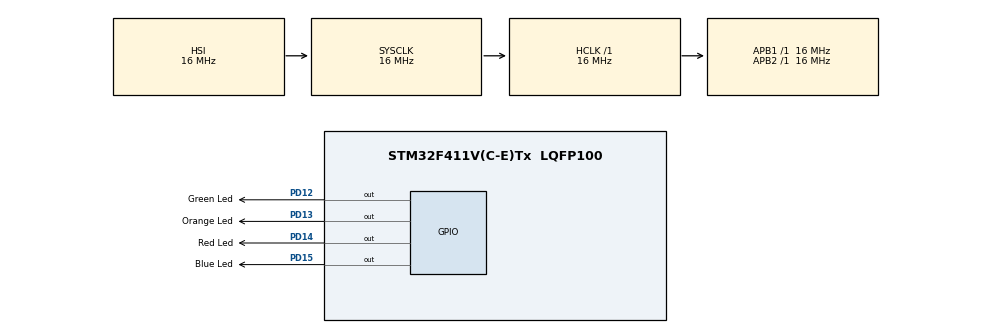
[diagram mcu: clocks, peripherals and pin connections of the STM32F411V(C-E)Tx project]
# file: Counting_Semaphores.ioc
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FREERTOS.Tasks01=defaultTask,0,128,StartDefaultTask,Default,NULL
FREERTOS.configUSE_COUNTING_SEMAPHORES=1
Mcu.Family=STM32F4
Mcu.Name=STM32F411V(C-E)Tx
Mcu.Package=LQFP100
NVIC.PriorityGroup=NVIC_PRIORITYGROUP_4
NVIC.TIM1_UP_TIM10_IRQn=true\:0\:0\:false\:false\:true\:false\:false
NVIC.TimeBase=TIM1_UP_TIM10_IRQn
NVIC.TimeBaseIP=TIM1
PD12.GPIO_Label=Green Led
PD12.GPIO_Speed=GPIO_SPEED_FREQ_VERY_HIGH
PD12.Signal=GPIO_Output
PD13.GPIO_Label=Orange Led
PD13.GPIO_Speed=GPIO_SPEED_FREQ_VERY_HIGH
PD13.Signal=GPIO_Output
PD14.GPIO_Label=Red Led
PD14.GPIO_Speed=GPIO_SPEED_FREQ_VERY_HIGH
PD14.Signal=GPIO_Output
PD15.GPIO_Label=Blue Led
PD15.GPIO_Speed=GPIO_SPEED_FREQ_VERY_HIGH
PD15.Signal=GPIO_Output
ProjectManager.HeapSize=0x200
ProjectManager.StackSize=0x400
ProjectManager.TargetToolchain=MDK-ARM V5
RCC.AHBFreq_Value=16000000
RCC.APB1Freq_Value=16000000
RCC.APB2Freq_Value=16000000
RCC.CortexFreq_Value=16000000
RCC.HSE_VALUE=25000000
RCC.HSI_VALUE=16000000
RCC.LSE_VALUE=32768
RCC.SYSCLKFreq_VALUE=16000000
RCC.VCOOutputFreq_Value=192000000
VP_FREERTOS_VS_ENABLE.Mode=Enabled
VP_SYS_VS_tim1.Mode=TIM1
board=custom

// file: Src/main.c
/**
  ******************************************************************************
  * @file           : main.c
  * @brief          : Main program body
  ******************************************************************************
  * This notice applies to any and all portions of this file
  * that are not between comment pairs USER CODE BEGIN and
  * USER CODE END. Other portions of this file, whether
  * inserted by the user or by software development tools
  * are owned by their respective copyright owners.
  *
  * Copyright (c) 2018 STMicroelectronics International N.V.
  * All rights reserved.
  *
  * Redistribution and use in source and binary forms, with or without
  * modification, are permitted, provided that the following conditions are met:
  *
  * 1. Redistribution of source code must retain the above copyright notice,
  *    this list of conditions and the following disclaimer.
  * 2. Redistributions in binary form must reproduce the above copyright notice,
  *    this list of conditions and the following disclaimer in the documentation
  *    and/or other materials provided with the distribution.
  * 3. Neither the name of STMicroelectronics nor the names of other
  *    contributors to this software may be used to endorse or promote products
  *    derived from this software without specific written permission.
  * 4. This software, including modifications and/or derivative works of this
  *    software, must execute solely and exclusively on microcontroller or
  *    microprocessor devices manufactured by or for STMicroelectronics.
  * 5. Redistribution and use of this software other than as permitted under
  *    this license is void and will automatically terminate your rights under
  *    this license.
  *
  * THIS SOFTWARE IS PROVIDED BY STMICROELECTRONICS AND CONTRIBUTORS "AS IS"
  * AND ANY EXPRESS, IMPLIED OR STATUTORY WARRANTIES, INCLUDING, BUT NOT
  * LIMITED TO, THE IMPLIED WARRANTIES OF MERCHANTABILITY, FITNESS FOR A
  * PARTICULAR PURPOSE AND NON-INFRINGEMENT OF THIRD PARTY INTELLECTUAL PROPERTY
  * RIGHTS ARE DISCLAIMED TO THE FULLEST EXTENT PERMITTED BY LAW. IN NO EVENT
  * SHALL STMICROELECTRONICS OR CONTRIBUTORS BE LIABLE FOR ANY DIRECT, INDIRECT,
  * INCIDENTAL, SPECIAL, EXEMPLARY, OR CONSEQUENTIAL DAMAGES (INCLUDING, BUT NOT
  * LIMITED TO, PROCUREMENT OF SUBSTITUTE GOODS OR SERVICES; LOSS OF USE, DATA,
  * OR PROFITS; OR BUSINESS INTERRUPTION) HOWEVER CAUSED AND ON ANY THEORY OF
  * LIABILITY, WHETHER IN CONTRACT, STRICT LIABILITY, OR TORT (INCLUDING
  * NEGLIGENCE OR OTHERWISE) ARISING IN ANY WAY OUT OF THE USE OF THIS SOFTWARE,
  * EVEN IF ADVISED OF THE POSSIBILITY OF SUCH DAMAGE.
  *
  ******************************************************************************
  */
#include "main.h"
#include "stm32f4xx_hal.h"
#include "cmsis_os.h"

/* USER CODE BEGIN Includes */
#include <string.h>
/* USER CODE END Includes */

osThreadId defaultTaskHandle;

/* USER CODE BEGIN PV */
/* Private variables ---------------------------------------------------------*/
#define STACK_SIZE	128
uint8_t data;
SemaphoreHandle_t xSemaphore;
TaskHandle_t xHandle2,xHandle3;
/* USER CODE END PV */

void SystemClock_Config(void);
static void MX_GPIO_Init(void);
void StartDefaultTask(void const * argument);

/* USER CODE BEGIN PFP */
/* Private function prototypes -----------------------------------------------*/
void myTask2(void *argument);
void myTask3(void *argument);
/* USER CODE END PFP */

int main(void)
{

  /* MCU Configuration----------------------------------------------------------*/

  /* Reset of all peripherals, Initializes the Flash interface and the Systick. */
  HAL_Init();

  /* Configure the system clock */
  SystemClock_Config();

  /* Initialize all configured peripherals */
  MX_GPIO_Init();

  /* USER CODE BEGIN RTOS_SEMAPHORES */
  /* add semaphores, ... */
	xSemaphore = xSemaphoreCreateCounting(3, 3);
	if(xSemaphore == NULL)
	{
		Error_Handler();
	}
  /* USER CODE END RTOS_SEMAPHORES */

  /* Create the thread(s) */
  /* definition and creation of defaultTask */
  osThreadDef(defaultTask, StartDefaultTask, osPriorityNormal, 0, 128);
  defaultTaskHandle = osThreadCreate(osThread(defaultTask), NULL);

  /* USER CODE BEGIN RTOS_THREADS */
  /* add threads, ... */
	if(xTaskCreate(myTask2, "TASK2", STACK_SIZE, NULL, osPriorityNormal-osPriorityIdle, xHandle2) != pdPASS)
	{
		Error_Handler();
	}
	if(xTaskCreate(myTask3, "TASK3", STACK_SIZE, NULL, osPriorityNormal-osPriorityIdle, xHandle3) != pdPASS)
	{
		Error_Handler();
	}
  /* USER CODE END RTOS_THREADS */

  /* Start scheduler */
  osKernelStart();

  /* We should never get here as control is now taken by the scheduler */

  /* Infinite loop */
  while (1)
  {

  }

}

void SystemClock_Config(void)
{

  RCC_OscInitTypeDef RCC_OscInitStruct;
  RCC_ClkInitTypeDef RCC_ClkInitStruct;

    /**Configure the main internal regulator output voltage
    */
  __HAL_RCC_PWR_CLK_ENABLE();

  __HAL_PWR_VOLTAGESCALING_CONFIG(PWR_REGULATOR_VOLTAGE_SCALE1);

    /**Initializes the CPU, AHB and APB busses clocks
    */
  RCC_OscInitStruct.OscillatorType = RCC_OSCILLATORTYPE_HSI;
  RCC_OscInitStruct.HSIState = RCC_HSI_ON;
  RCC_OscInitStruct.HSICalibrationValue = 16;
  RCC_OscInitStruct.PLL.PLLState = RCC_PLL_NONE;
  if (HAL_RCC_OscConfig(&RCC_OscInitStruct) != HAL_OK)
  {
    _Error_Handler(__FILE__, __LINE__);
  }

    /**Initializes the CPU, AHB and APB busses clocks
    */
  RCC_ClkInitStruct.ClockType = RCC_CLOCKTYPE_HCLK|RCC_CLOCKTYPE_SYSCLK
                              |RCC_CLOCKTYPE_PCLK1|RCC_CLOCKTYPE_PCLK2;
  RCC_ClkInitStruct.SYSCLKSource = RCC_SYSCLKSOURCE_HSI;
  RCC_ClkInitStruct.AHBCLKDivider = RCC_SYSCLK_DIV1;
  RCC_ClkInitStruct.APB1CLKDivider = RCC_HCLK_DIV1;
  RCC_ClkInitStruct.APB2CLKDivider = RCC_HCLK_DIV1;

  if (HAL_RCC_ClockConfig(&RCC_ClkInitStruct, FLASH_LATENCY_0) != HAL_OK)
  {
    _Error_Handler(__FILE__, __LINE__);
  }

    /**Configure the Systick interrupt time
    */
  HAL_SYSTICK_Config(HAL_RCC_GetHCLKFreq()/1000);

    /**Configure the Systick
    */
  HAL_SYSTICK_CLKSourceConfig(SYSTICK_CLKSOURCE_HCLK);

  /* SysTick_IRQn interrupt configuration */
  HAL_NVIC_SetPriority(SysTick_IRQn, 15, 0);
}

/** Configure pins as
        * Analog
        * Input
        * Output
        * EVENT_OUT
        * EXTI
*/
static void MX_GPIO_Init(void)
{

  GPIO_InitTypeDef GPIO_InitStruct;

  /* GPIO Ports Clock Enable */
  __HAL_RCC_GPIOD_CLK_ENABLE();

  /*Configure GPIO pin Output Level */
  HAL_GPIO_WritePin(GPIOD, Green_Led_Pin|Orange_Led_Pin|Red_Led_Pin|Blue_Led_Pin, GPIO_PIN_RESET);

  /*Configure GPIO pins : Green_Led_Pin Orange_Led_Pin Red_Led_Pin Blue_Led_Pin */
  GPIO_InitStruct.Pin = Green_Led_Pin|Orange_Led_Pin|Red_Led_Pin|Blue_Led_Pin;
  GPIO_InitStruct.Mode = GPIO_MODE_OUTPUT_PP;
  GPIO_InitStruct.Pull = GPIO_NOPULL;
  GPIO_InitStruct.Speed = GPIO_SPEED_FREQ_VERY_HIGH;
  HAL_GPIO_Init(GPIOD, &GPIO_InitStruct);

}

/* USER CODE BEGIN 4 */
void myTask2(void *argument)
{
	for(;;)
  {
    osDelay(1000);
		if(xSemaphoreTake(xSemaphore, portMAX_DELAY) == pdTRUE)
		{
			data++;
			printf("TASK2 => %u\n",data);
			HAL_GPIO_TogglePin(GPIOD, Green_Led_Pin);
			xSemaphoreGive(xSemaphore);
		}
  }
}
void myTask3(void *argument)
{
	for(;;)
  {
    osDelay(1000);
		if(xSemaphoreTake(xSemaphore, portMAX_DELAY) == pdTRUE)
		{
			data++;
			printf("TASK3 => %u\n",data);
			HAL_GPIO_TogglePin(GPIOD, Blue_Led_Pin);
			xSemaphoreGive(xSemaphore);
		}
  }
}
/* USER CODE END 4 */

/* StartDefaultTask function */
void StartDefaultTask(void const * argument)
{

  /* USER CODE BEGIN 5 */
  /* Infinite loop */
  for(;;)
  {
    osDelay(1000);
		if(xSemaphoreTake(xSemaphore, portMAX_DELAY) == pdTRUE)
		{
			data++;
			printf("TASK1 => %u\n",data);
			HAL_GPIO_TogglePin(GPIOD, Orange_Led_Pin);
			xSemaphoreGive(xSemaphore);
		}
  }
  /* USER CODE END 5 */
}

void HAL_TIM_PeriodElapsedCallback(TIM_HandleTypeDef *htim)
{
  if (htim->Instance == TIM1) {
    HAL_IncTick();
  }
}

void _Error_Handler(char *file, int line)
{
  /* USER CODE BEGIN Error_Handler_Debug */
  /* User can add his own implementation to report the HAL error return state */
	HAL_GPIO_WritePin(GPIOD, Red_Led_Pin, GPIO_PIN_SET);
  while(1)
  {
  }
  /* USER CODE END Error_Handler_Debug */
}

/************************ (C) COPYRIGHT STMicroelectronics *****END OF FILE****/
